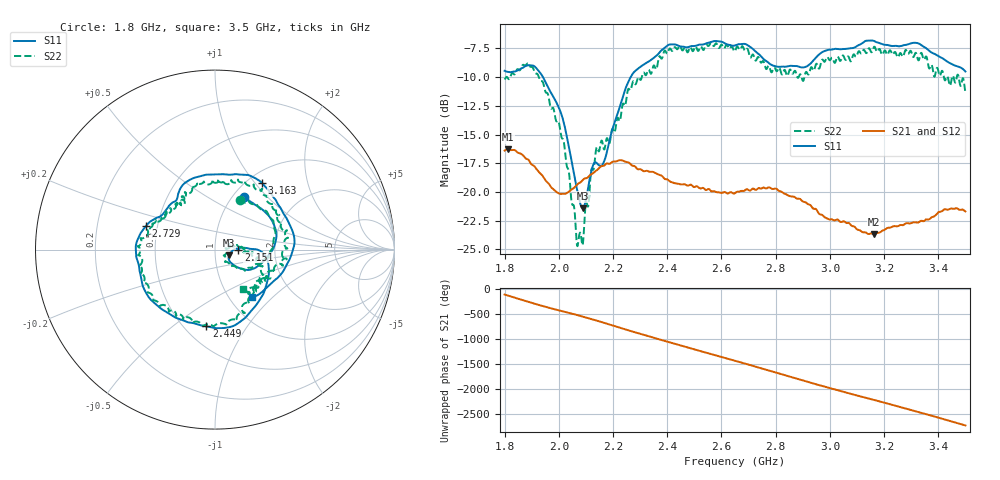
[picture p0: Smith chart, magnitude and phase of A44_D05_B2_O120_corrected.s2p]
! Created with skrf 1.9.0 (http://scikit-rf.org).
# Hz S RI R 50.0
!freq ReS11 ImS11 ReS21 ImS21 ReS12 ImS12 ReS22 ImS22
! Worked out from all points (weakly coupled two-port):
!   1601 points, 1.8 GHz to 3.5 GHz, reference 50 ohm
!   highest |S21| = -16.30 dB at 1.812 GHz (marker M1); lowest = -23.7 dB at 3.161 GHz (marker M2)
!   lowest |S11| = -21.4 dB at 2.089 GHz (marker M3), VSWR 1.19, Z = 58.5 - j3.63 ohm
!   |S11| at or under -10 dB: 1.942 GHz to 2.265 GHz (323.1 MHz wide, 15.4 % of centre)
!   |S22| runs from -24.7 to -7.0 dB; largest |S21 - S12| = 0.0024
!   S11 on the Smith chart (normalised r, x): 1.8 GHz: 1.13, +0.75; 2.151 GHz: 1.30, +0.00; 2.449 GHz: 0.64, -0.67; 2.729 GHz: 0.43, +0.14; 3.163 GHz: 1.16, +1.09; 3.5 GHz: 1.27, -0.75
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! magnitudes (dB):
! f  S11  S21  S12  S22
! 1.8 GHz  -9.5  -16.4  -16.4  -10.2
! 1.812 GHz  -9.5  -16.3  -16.3  -10.1
! 1.885 GHz  -9.0  -17.2  -17.2  -8.8
! 1.941 GHz  -10.0  -18.6  -18.6  -10.5
! 2.013 GHz  -13.5  -20.2  -20.2  -15.3
! 2.067 GHz  -19.7  -19.4  -19.4  -24.6
! 2.084 GHz  -21.3  -19.1  -19.0  -24.2
! 2.089 GHz  -21.4  -19.0  -19.0  -24.5
! 2.126 GHz  -17.7  -18.4  -18.4  -18.1
! 2.151 GHz  -17.7  -17.9  -17.9  -16.3
! 2.188 GHz  -15.4  -17.5  -17.5  -15.7
! 2.263 GHz  -10.1  -17.5  -17.5  -11.1
! 2.367 GHz  -8.0  -18.5  -18.4  -8.5
! 2.449 GHz  -7.3  -19.3  -19.3  -7.4
! 2.65 GHz  -7.2  -20.1  -20.1  -7.7
! 2.729 GHz  -7.8  -19.8  -19.8  -8.5
! 2.934 GHz  -8.7  -21.3  -21.3  -9.2
! 3.161 GHz  -6.8  -23.7  -23.6  -7.5
! 3.163 GHz  -6.8  -23.7  -23.6  -7.4
! 3.217 GHz  -7.2  -23.1  -23.1  -7.8
! 3.342 GHz  -7.3  -22.5  -22.5  -8.1
! 3.5 GHz  -9.5  -21.7  -21.7  -11.4
